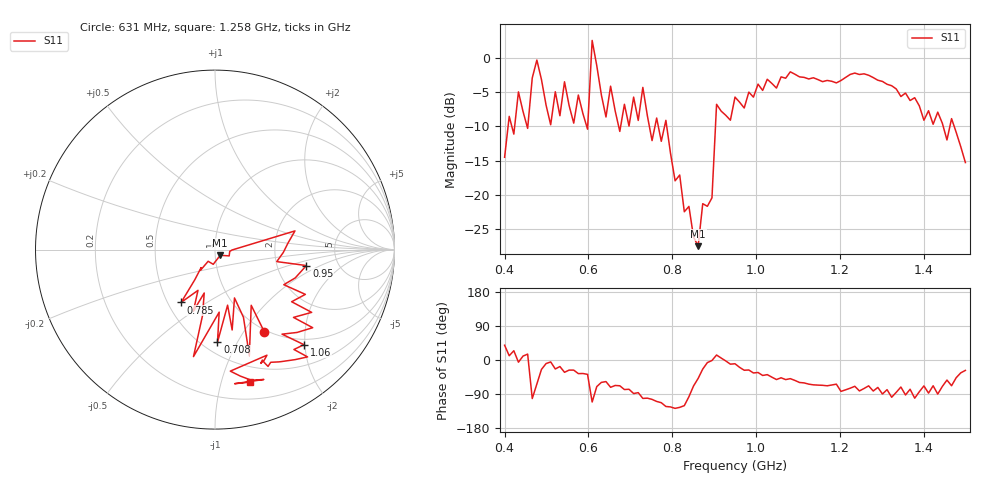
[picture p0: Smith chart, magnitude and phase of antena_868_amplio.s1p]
! antena_868_amplio
! NanoVNA, 2026-10-25T21:38:46
# HZ S RI R 50
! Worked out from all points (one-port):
!   101 points, 400 MHz to 1.5 GHz, reference 50 ohm
!   lowest |S11| = -27.5 dB at 862 MHz (marker M1), VSWR 1.09, Z = 52.8 - j3.36 ohm
!   |S11| at or under -10 dB: start of sweep to 408.3 MHz; 787 MHz to 903.4 MHz (116.4 MHz wide, 13.8 % of centre); 1.473 GHz to end of sweep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
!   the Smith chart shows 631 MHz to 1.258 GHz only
!   S11 on the Smith chart (normalised r, x): 631 MHz: 0.97, -1.25; 708 MHz: 0.59, -0.83; 785 MHz: 0.59, -0.39; 950 MHz: 2.94, -0.71; 1.06 GHz: 0.89, -1.98; 1.258 GHz: 0.35, -1.24
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4e8  0.1464 0.1183
4.33e8  0.5611 -0.057
4.55e8  0.2945 0.0818
4.66e8  -0.1448 -0.6977
4.77e8  0.4326 -0.8593
4.99e8  0.4451 -0.0737
5.43e8  0.5639 -0.3581
5.98e8  0.238 -0.1852
6.09e8  -0.4755 -1.249
6.2e8  0.2971 -0.8248
6.31e8  0.2753 -0.4591
6.53e8  0.1914 -0.5904
6.75e8  0.1086 -0.2694
7.08e8  0.0138 -0.5162
7.52e8  -0.06 -0.2417
7.85e8  -0.1888 -0.2944
8.18e8  -0.0801 -0.1145
8.62e8  0.028 -0.0318
8.95e8  0.0953 -0.00213
9.06e8  0.4455 0.1042
9.5e8  0.509 -0.0889
1.06e9  0.4956 -0.5297
1.093e9  0.4466 -0.6129
1.225e9  0.2029 -0.728
1.258e9  0.1951 -0.7382
1.324e9  -0.0899 -0.6188
1.368e9  0.1082 -0.4757
1.5e9  0.153 -0.0793
